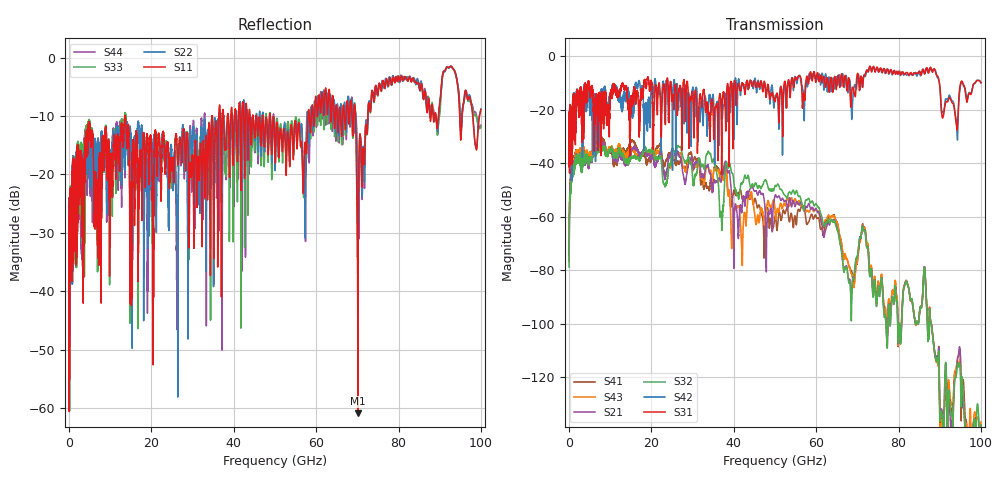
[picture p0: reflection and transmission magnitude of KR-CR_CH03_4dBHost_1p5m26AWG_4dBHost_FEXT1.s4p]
# GHz S MA R 50.00
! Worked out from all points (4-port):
!   10000 points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, 10 MHz to 100 GHz, reference 50 ohm
!   strongest paths, dB at 10 MHz, 25.01 GHz, 50.01 GHz, 75.01 GHz, 100 GHz:
!     S31: -27.1, -16.6, -16.9, -4.8, -9.9
!     S42: -27.1, -16.9, -15.1, -5.4, -9.8
!     S32: -78.9, -35.9, -48.4, -86.1, -137.9
!     S21: -76.5, -34.5, -52.2, -86.1, -138.4
!     S43: -76.6, -37.2, -57.8, -84.6, -136.9
!     S41: -74.4, -35.9, -59.9, -84.6, -138.2
!   lowest |S11| = -60.9 dB at 70.12 GHz (marker M1), VSWR 1.00, Z = 50.1 - j0.049 ohm
!   |S11| at or under -10 dB: start of sweep to 13.57 GHz; 13.67 GHz to 34.69 GHz (21.02 GHz wide, 87 % of centre); 48.86 GHz to 58.01 GHz (9.148 GHz wide, 17.1 % of centre)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
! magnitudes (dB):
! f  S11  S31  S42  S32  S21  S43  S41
! 10 MHz  -24.1  -27.1  -27.1  -78.9  -76.5  -76.6  -74.4
! 2.12 GHz  -16.5  -13.4  -13.8  -37.5  -37.5  -35.8  -36.5
! 26.71 GHz  -15.4  -12.3  -13.9  -33.9  -37.3  -36.5  -40.3
! 41.96 GHz  -10.4  -10.0  -10.3  -47.7  -57.8  -73.3  -52.9
! 54.45 GHz  -17.4  -10.6  -12.7  -50.0  -53.9  -55.0  -64.1
! 70.12 GHz  -60.9  -6.3  -7.1  -73.8  -73.8  -75.4  -75.6
! 100 GHz  -8.9  -9.9  -9.8  -137.9  -138.4  -136.9  -138.2
